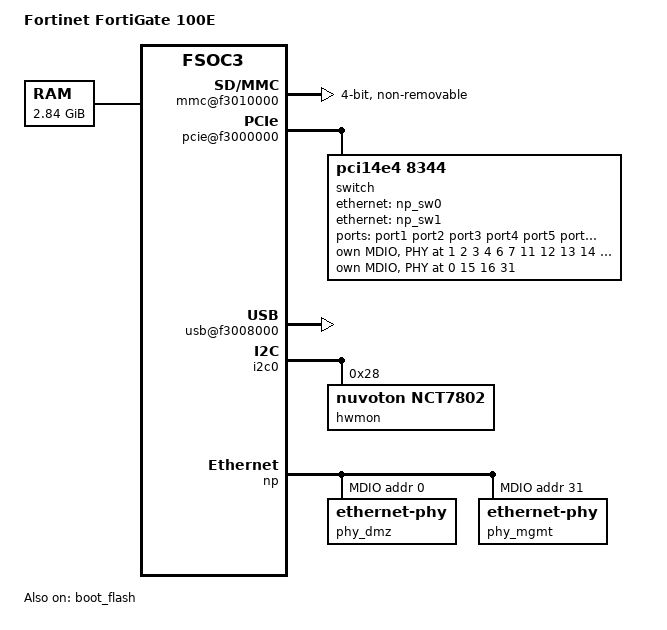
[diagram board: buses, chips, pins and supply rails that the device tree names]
// SPDX-License-Identifier: GPL-2.0-only OR MIT
/dts-v1/;

/*
 * FortiGate 100E (board P20124-09, "PCB FG-100E/101E MB 6L"): FortiSOC3,
 * like the 60E. RAM boot only: nothing here writes to the eMMC or the boot
 * flash. mgmt and dmz are BCM54220 PHYs on the MDIO of the network
 * processor; wan1, wan2 and the 18 front ports sit behind the BCM53344
 * switch on PCIe, which the bcm53344 driver sets up as pass-through
 * fabric with one uplink per zone (wan1, wan2, lan, ha). Still unknown on
 * this board, hence left out: the wiring of the NP6Lite GPIO lines (LEDs,
 * button, hogs of the 60E).
 */

#include "fsoc3.dtsi"
#include <dt-bindings/gpio/gpio.h>

/ {
	model = "Fortinet FortiGate 100E";
	compatible = "fortinet,fg100e", "fortinet,fsoc3";

	aliases {
		serial0 = &uart0;
		i2c0 = &i2c0;
	};

	chosen {
		bootargs = "earlycon=em_uart,mmio32,0xfb000000 console=ttyS0,9600n8 loglevel=8 panic=10";
		stdout-path = "serial0:9600n8";
	};

	/*
	 * Four MT41K1G8SN chips: 4 GiB, of which the Cortex-A9 (no LPAE) sees
	 * 0x00000000-0xbfffffff (as FortiOS does); a memory test passed in
	 * both windows. The 160 MiB from 0x76000000 stay with the network
	 * processor (fortinet,tce-base and its flow tables). The window above
	 * 0xb0000000 needs HIGHMEM.
	 */
	memory@0 {
		device_type = "memory";
		reg = <0x00000000 0x76000000>,
		      <0x80000000 0x40000000>;
	};

	reserved-memory {
		#address-cells = <1>;
		#size-cells = <1>;
		ranges;

		/*
		 * Host queue 0 of the network processor, left running by the
		 * boot loader after its TFTP transfer: rings and buffers from
		 * 0x10000000 (seen on this board: receive ring at 0x10000000,
		 * transmit ring at 0x10020620). The whole MiB, as on the 60E.
		 */
		np_loader: np-loader@10000000 {
			reg = <0x10000000 0x100000>;
			no-map;
		};

		/*
		 * Traffic counter engine of the network processor, left with
		 * its counter base at 0 by the boot loader until the driver
		 * moves it to fortinet,tce-base (see the 60E device tree).
		 */
		np_tce_low: np-tce-low@0 {
			reg = <0x00000000 0x4000>;
		};
	};

	/* Input clock of the eMMC controller: 1 GHz / 11 */
	sdhi_clk: clock-sdhi {
		compatible = "fixed-clock";
		#clock-cells = <0>;
		clock-frequency = <90909090>;
	};
};

&{/soc} {
	/*
	 * eMMC (Micron, 7471104 sectors as on the 60E: FortiOS in partitions
	 * 1 and 2). Strictly read-only: fortinet,force-ro without write
	 * windows refuses every data write, and no rootfs_data is described.
	 */
	mmc@f3010000 {
		compatible = "fortinet,fsoc3-sdhi";
		reg = <0xf3010000 0x2000>;
		interrupts = <GIC_SPI 22 IRQ_TYPE_LEVEL_HIGH>;
		clocks = <&sdhi_clk>;
		bus-width = <4>;
		max-frequency = <25000000>;
		non-removable;
		no-sdio;
		no-sd;
		fortinet,force-ro;
	};

	/*
	 * NP6Lite msc GPIO block, without consumers until the wiring of this
	 * board is known. Reserved as on the 60E: 6 (USB port power, xHCI
	 * glue), 17-18 (MDC lines) and 20-25 (resets, NP6Lite driver).
	 */
	gpio@f500fc00 {
		compatible = "fortinet,fsoc3-gpio";
		reg = <0xf500fc00 0x80>;
		gpio-controller;
		#gpio-cells = <2>;
		ngpios = <32>;
		gpio-reserved-ranges = <10 1>, <17 2>, <20 6>;
	};

	/*
	 * PCIe root port (1a29:5333) with the BCM53344 switch on its link
	 * (01:00.0, 01:00.1, 14e4:8344, read on this board). Memory window
	 * and interrupt as the board firmware describes them (16 MiB at
	 * 0xf0000000, SPI 112).
	 */
	pcie@f3000000 {
		compatible = "fortinet,fsoc3-pcie";
		reg = <0xf3000000 0x100>;
		device_type = "pci";
		#address-cells = <3>;
		#size-cells = <2>;
		#interrupt-cells = <1>;
		bus-range = <0x00 0x01>;
		ranges = <0x02000000 0 0xf0000000 0xf0000000 0 0x01000000>;
		interrupt-map-mask = <0 0 0 7>;
		interrupt-map = <0 0 0 1 &gic GIC_SPI 112 IRQ_TYPE_LEVEL_HIGH>,
				<0 0 0 2 &gic GIC_SPI 112 IRQ_TYPE_LEVEL_HIGH>,
				<0 0 0 3 &gic GIC_SPI 112 IRQ_TYPE_LEVEL_HIGH>,
				<0 0 0 4 &gic GIC_SPI 112 IRQ_TYPE_LEVEL_HIGH>;

		/* root port 00:00.0, the switch behind it on bus 1 */
		pcie@0,0 {
			device_type = "pci";
			reg = <0x0000 0 0 0 0>;
			#address-cells = <3>;
			#size-cells = <2>;
			ranges;

			/*
			 * BCM53344, function 0 (14e4:8344). wan1/wan2 are zones of
			 * the driver; the other front ports are DSA user ports of
			 * two instances with tag_8021q (16 user ports at most
			 * each): port1-16 over uplink 20 (conduit sw0), ha1/ha2
			 * over uplink 21 (conduit sw1).
			 */
			switch@0,0 {
				compatible = "pci14e4,8344";
				reg = <0x10000 0 0 0 0>;
				#address-cells = <1>;
				#size-cells = <0>;

				/* internal MDIO bus 0: QGPHYs of ports 2-17 */
				mdio-int {
					#address-cells = <1>;
					#size-cells = <0>;

					qgphy_1: ethernet-phy@1 {
						reg = <1>;
					};
					qgphy_2: ethernet-phy@2 {
						reg = <2>;
					};
					qgphy_3: ethernet-phy@3 {
						reg = <3>;
					};
					qgphy_4: ethernet-phy@4 {
						reg = <4>;
					};
					qgphy_6: ethernet-phy@6 {
						reg = <6>;
					};
					qgphy_7: ethernet-phy@7 {
						reg = <7>;
					};
					qgphy_11: ethernet-phy@b {
						reg = <11>;
					};
					qgphy_12: ethernet-phy@c {
						reg = <12>;
					};
					qgphy_13: ethernet-phy@d {
						reg = <13>;
					};
					qgphy_14: ethernet-phy@e {
						reg = <14>;
					};
					qgphy_16: ethernet-phy@10 {
						reg = <16>;
					};
					qgphy_17: ethernet-phy@11 {
						reg = <17>;
					};
					qgphy_18: ethernet-phy@12 {
						reg = <18>;
					};
					qgphy_19: ethernet-phy@13 {
						reg = <19>;
					};
				};

				/* external MDIO bus 1: B50220 of ports 26-29 */
				mdio-ext {
					#address-cells = <1>;
					#size-cells = <0>;

					b50220_0: ethernet-phy@0 {
						reg = <0>;
					};
					b50220_15: ethernet-phy@f {
						reg = <15>;
					};
					b50220_16: ethernet-phy@10 {
						reg = <16>;
					};
					b50220_31: ethernet-phy@1f {
						reg = <31>;
					};
				};

				switch-0 {
					compatible = "brcm,bcm53344-dsa";
					dsa,member = <0 0>;

					ports {
						#address-cells = <1>;
						#size-cells = <0>;

						port@0 {
							reg = <0>;
							label = "port1";
							phy-handle = <&qgphy_3>;
							phy-mode = "internal";
						};
						port@1 {
							reg = <1>;
							label = "port2";
							phy-handle = <&qgphy_4>;
							phy-mode = "internal";
						};
						port@2 {
							reg = <2>;
							label = "port3";
							phy-handle = <&qgphy_1>;
							phy-mode = "internal";
						};
						port@3 {
							reg = <3>;
							label = "port4";
							phy-handle = <&qgphy_2>;
							phy-mode = "internal";
						};
						port@4 {
							reg = <4>;
							label = "port5";
							phy-handle = <&qgphy_12>;
							phy-mode = "internal";
						};
						port@5 {
							reg = <5>;
							label = "port6";
							phy-handle = <&qgphy_11>;
							phy-mode = "internal";
						};
						port@6 {
							reg = <6>;
							label = "port7";
							phy-handle = <&qgphy_14>;
							phy-mode = "internal";
						};
						port@7 {
							reg = <7>;
							label = "port8";
							phy-handle = <&qgphy_13>;
							phy-mode = "internal";
						};
						port@8 {
							reg = <8>;
							label = "port9";
							phy-handle = <&qgphy_17>;
							phy-mode = "internal";
						};
						port@9 {
							reg = <9>;
							label = "port10";
							phy-handle = <&qgphy_16>;
							phy-mode = "internal";
						};
						port@10 {
							reg = <10>;
							label = "port11";
							phy-handle = <&qgphy_19>;
							phy-mode = "internal";
						};
						port@11 {
							reg = <11>;
							label = "port12";
							phy-handle = <&qgphy_18>;
							phy-mode = "internal";
						};
						port@12 {
							reg = <12>;
							label = "port13";
							phy-handle = <&b50220_0>;
							phy-mode = "sgmii";
						};
						port@13 {
							reg = <13>;
							label = "port14";
							phy-handle = <&b50220_31>;
							phy-mode = "sgmii";
						};
						port@14 {
							reg = <14>;
							label = "port15";
							phy-handle = <&b50220_16>;
							phy-mode = "sgmii";
						};
						port@15 {
							reg = <15>;
							label = "port16";
							phy-handle = <&b50220_15>;
							phy-mode = "sgmii";
						};
						port@16 {
							reg = <16>;
							ethernet = <&np_sw0>;
							phy-mode = "internal";

							fixed-link {
								speed = <1000>;
								full-duplex;
							};
						};
					};
				};

				switch-1 {
					compatible = "brcm,bcm53344-dsa";
					dsa,member = <1 1>;

					ports {
						#address-cells = <1>;
						#size-cells = <0>;

						port@0 {
							reg = <0>;
							label = "ha1";
							phy-handle = <&qgphy_6>;
							phy-mode = "internal";
						};
						port@1 {
							reg = <1>;
							label = "ha2";
							phy-handle = <&qgphy_7>;
							phy-mode = "internal";
						};
						port@2 {
							reg = <2>;
							ethernet = <&np_sw1>;
							phy-mode = "internal";

							fixed-link {
								speed = <1000>;
								full-duplex;
							};
						};
					};
				};
			};
		};
	};

	/* xHCI, as on the 60E: one USB-A port, USB 2 only; port power on line 10 */
	usb@f3008000 {
		compatible = "fortinet,fsoc3-xhci";
		reg = <0xf3008000 0x8000>,
		      <0xf500fc00 0x80>;
		interrupts = <GIC_SPI 44 IRQ_TYPE_LEVEL_HIGH>;
		firmware-name = "r8a779x_usb3_v2-98d922b9.dlmem";
		fortinet,vbus-line = <10>;
		fortinet,skip-fresh-ep-reset;
		fortinet,trust-internal-ep-state;
	};

	/* Internal RTC, read only: never written. */
	rtc@fc700000 {
		compatible = "fortinet,fsoc3-rtc";
		reg = <0xfc700000 0x100>;
	};

	/* First I2C controller (IICA), read-only driver */
	i2c0: i2c@fb004000 {
		compatible = "fortinet,fsoc3-i2c";
		reg = <0xfb004000 0x1000>;
		interrupts = <GIC_SPI 13 IRQ_TYPE_EDGE_RISING>,
			     <GIC_SPI 12 IRQ_TYPE_EDGE_RISING>;
		interrupt-names = "transfer", "stop";
		clocks = <&periph_clk>;
		fortinet,writable-address = <0x28>;
		#address-cells = <1>;
		#size-cells = <0>;

		/*
		 * Hardware monitor (U72): bank 0, vendor 0x50, chip 0xc3,
		 * version 0x21 read at this address on this board. It drives
		 * the fans by itself, with curves the fan profiles of
		 * userspace set: the only device of the bus that may be
		 * written.
		 */
		hwmon@28 {
			compatible = "nuvoton,nct7802";
			reg = <0x28>;
		};
	};

	/*
	 * NP6Lite network processor. On the MDC line of NP GPIO 17, PHY ID
	 * 600d:8589 at addresses 0 (dmz) and 31 (mgmt), found by moving a
	 * cable between the front ports; nothing else answers on it, nothing
	 * on the MDC line of GPIO 18. The boot loader leaves the mgmt PHY
	 * powered down after its TFTP transfer (phylib powers it up). wan1
	 * and wan2 have no PHY here: they are switch ports.
	 */
	np: ethernet@f5000000 {
		compatible = "fortinet,fsoc3-np6lite";
		/* 0x0c, as on the 60E, stops the NP at the first UDP session hit */
		fortinet,sse-udp-tail = <0x0b>;
		reg = <0xf5000000 0x20000>;
		interrupts = <GIC_SPI 48 IRQ_TYPE_EDGE_RISING>,
			     <GIC_SPI 49 IRQ_TYPE_EDGE_RISING>,
			     <GIC_SPI 50 IRQ_TYPE_EDGE_RISING>,
			     <GIC_SPI 51 IRQ_TYPE_EDGE_RISING>,
			     <GIC_SPI 52 IRQ_TYPE_EDGE_RISING>;
		interrupt-names = "hif0", "hif1", "hif2", "hif3", "err";
		dma-coherent;
		/*
		 * No fortinet,reset-pins: lines 20-25 are inputs pulled high
		 * under the boot loader of this board (resets of the 60E), and
		 * driving them could fight a device; the loader leaves lines
		 * 7, 11, 12 low and 13 high as outputs (PHY resets? not known).
		 */
		fortinet,init-logical-interfaces;
		fortinet,tce-base = <0x76000000>;

		mdio {
			#address-cells = <1>;
			#size-cells = <0>;
			/* no fortinet,mdc-pin: the pin mux stays as the loader set it */

			phy_dmz: ethernet-phy@0 {
				reg = <0>;
			};

			phy_mgmt: ethernet-phy@1f {
				reg = <31>;
			};
		};

		ethernet-ports {
			#address-cells = <1>;
			#size-cells = <0>;

			/*
			 * reg = LIF; fortinet,np-link = NP link (MAC port + 1).
			 * mgmt and dmz are the RGMII MAC ports 0 and 1: the boot
			 * loader leaves MAC port 0 enabled after its TFTP
			 * transfer on mgmt; the FortiOS port numbers (mgmt 1,
			 * dmz 2, wan1 3, wan2 4) read as NP links. MAC
			 * addresses: the base is the one the boot loader uses on
			 * mgmt; FortiOS gives dmz the base - 1, which a mac-base
			 * cell cannot express, hence dmz = base + 1 for now.
			 */
			/*
			 * wan1 on MAC port 2 (NP link 3; LIF 0 is tied to MAC
			 * port 2 by the driver), uplink to BCM53344 port 18
			 * (front port 8 = wan1 jack): fixed 1000BASE-X link.
			 */
			port@0 {
				reg = <0>;
				label = "wan1";
				nvmem-cells = <&mac_base 2>;
				nvmem-cell-names = "mac-address";
				post-init-providers = <&mac_base>;
				fortinet,np-link = <3>;
				phy-mode = "1000base-x";

				fixed-link {
					speed = <1000>;
					full-duplex;
				};
			};

			/*
			 * wan2 on MAC port 3 (NP link 4), uplink to BCM53344
			 * port 19 (front port 9 = wan2 jack). LIF 7: LIFs 4-6
			 * are the host trunk LIFs of the flow offload.
			 */
			port@7 {
				reg = <7>;
				label = "wan2";
				nvmem-cells = <&mac_base 3>;
				nvmem-cell-names = "mac-address";
				post-init-providers = <&mac_base>;
				fortinet,np-link = <4>;
				phy-mode = "1000base-x";

				fixed-link {
					speed = <1000>;
					full-duplex;
				};
			};

			/*
			 * DSA conduits: sw0 = uplink port 20 (port1-16), sw1 =
			 * uplink port 21 (ha1, ha2)
			 */
			np_sw0: port@8 {
				reg = <8>;
				label = "sw0";
				nvmem-cells = <&mac_base 4>;
				nvmem-cell-names = "mac-address";
				post-init-providers = <&mac_base>;
				fortinet,np-link = <5>;
				phy-mode = "1000base-x";

				fixed-link {
					speed = <1000>;
					full-duplex;
				};
			};

			np_sw1: port@9 {
				reg = <9>;
				label = "sw1";
				nvmem-cells = <&mac_base 5>;
				nvmem-cell-names = "mac-address";
				post-init-providers = <&mac_base>;
				fortinet,np-link = <6>;
				phy-mode = "1000base-x";

				fixed-link {
					speed = <1000>;
					full-duplex;
				};
			};

			port@2 {
				reg = <2>;
				label = "mgmt";
				nvmem-cells = <&mac_base 0>;
				nvmem-cell-names = "mac-address";
				post-init-providers = <&mac_base>;
				fortinet,np-link = <1>;
				phy-handle = <&phy_mgmt>;
				phy-mode = "rgmii";
			};

			port@3 {
				reg = <3>;
				label = "dmz";
				nvmem-cells = <&mac_base 1>;
				nvmem-cell-names = "mac-address";
				post-init-providers = <&mac_base>;
				fortinet,np-link = <2>;
				phy-handle = <&phy_dmz>;
				phy-mode = "rgmii";
			};
		};
	};

	watchdog@fbe01600 {
		compatible = "fortinet,fsoc3-wdt";
		reg = <0xfbe01600 0x100>;
		interrupts = <GIC_SPI 11 IRQ_TYPE_EDGE_RISING>;
		clock-frequency = <48000000>;
		timeout-sec = <30>;
		fortinet,sysmgr = <&sysmgr>;
	};
};

/*
 * Factory block of the boot flash (Macronix MX25L, 2 MiB), read only: the
 * base MAC address at 0x5880, as on the 60E (seen on this board: the same
 * address as the boot loader shows).
 */
&boot_flash {
	status = "okay";

	nvmem-layout {
		compatible = "fixed-layout";
		#address-cells = <1>;
		#size-cells = <1>;

		mac_base: mac-address@5880 {
			compatible = "mac-base";
			reg = <0x5880 0x6>;
			#nvmem-cell-cells = <1>;
		};
	};
};
